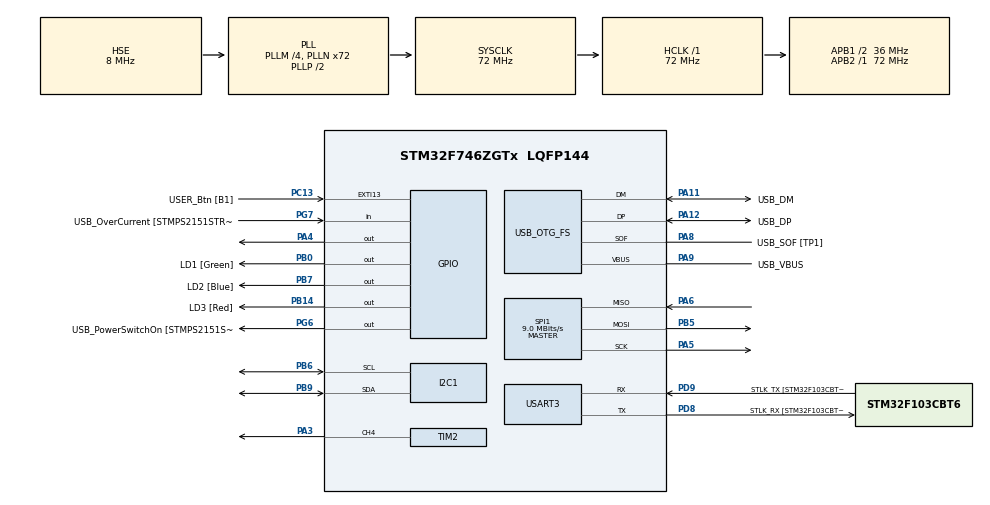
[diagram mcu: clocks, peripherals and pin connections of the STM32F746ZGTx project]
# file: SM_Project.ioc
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I2C1.Timing=0x00808CD2
Mcu.Family=STM32F7
Mcu.Name=STM32F746ZGTx
Mcu.Package=LQFP144
NVIC.PriorityGroup=NVIC_PRIORITYGROUP_4
NVIC.TIM7_IRQn=true\:0\:0\:false\:false\:true\:true\:true\:true
NVIC.USART3_IRQn=true\:0\:0\:false\:false\:true\:true\:true\:true
PA1.GPIO_Label=RMII_REF_CLK [LAN8742A-CZ-TR_REFCLK0]
PA1.Signal=ETH_REF_CLK
PA10.GPIO_Label=USB_ID
PA10.Signal=USB_OTG_FS_ID
PA11.GPIO_Label=USB_DM
PA11.Mode=Device_Only
PA11.Signal=USB_OTG_FS_DM
PA12.GPIO_Label=USB_DP
PA12.Mode=Device_Only
PA12.Signal=USB_OTG_FS_DP
PA13.GPIO_Label=TMS
PA13.Mode=Serial_Wire
PA13.Signal=SYS_JTMS-SWDIO
PA14.GPIO_Label=TCK
PA14.Mode=Serial_Wire
PA14.Signal=SYS_JTCK-SWCLK
PA2.GPIO_Label=RMII_MDIO [LAN8742A-CZ-TR_MDIO]
PA2.Signal=ETH_MDIO
PA3.Signal=S_TIM2_CH4
PA4.Signal=GPIO_Output
PA5.Mode=Full_Duplex_Master
PA5.Signal=SPI1_SCK
PA6.Mode=Full_Duplex_Master
PA6.Signal=SPI1_MISO
PA7.GPIO_Label=RMII_CRS_DV [LAN8742A-CZ-TR_CRS_DV]
PA7.Signal=ETH_CRS_DV
PA8.GPIO_Label=USB_SOF [TP1]
PA8.Mode=Activate_SOF_FS
PA8.Signal=USB_OTG_FS_SOF
PA9.GPIO_Label=USB_VBUS
PA9.Mode=Activate_VBUS
PA9.Signal=USB_OTG_FS_VBUS
PB0.GPIO_Label=LD1 [Green]
PB0.Signal=GPIO_Output
PB13.GPIO_Label=RMII_TXD1 [LAN8742A-CZ-TR_TXD1]
PB13.Signal=ETH_TXD1
PB14.GPIO_Label=LD3 [Red]
PB14.Signal=GPIO_Output
PB3.GPIO_Label=SW0
PB3.Signal=SYS_JTDO-SWO
PB5.Mode=Full_Duplex_Master
PB5.Signal=SPI1_MOSI
PB6.Mode=I2C
PB6.Signal=I2C1_SCL
PB7.GPIO_Label=LD2 [Blue]
PB7.Signal=GPIO_Output
PB9.Mode=I2C
PB9.Signal=I2C1_SDA
PC1.GPIO_Label=RMII_MDC [LAN8742A-CZ-TR_MDC]
PC1.Signal=ETH_MDC
PC13.GPIO_Label=USER_Btn [B1]
PC13.Signal=GPXTI13
PC14/OSC32_IN.Mode=LSE-External-Oscillator
PC14/OSC32_IN.Signal=RCC_OSC32_IN
PC15/OSC32_OUT.Mode=LSE-External-Oscillator
PC15/OSC32_OUT.Signal=RCC_OSC32_OUT
PC4.GPIO_Label=RMII_RXD0 [LAN8742A-CZ-TR_RXD0]
PC4.Signal=ETH_RXD0
PC5.GPIO_Label=RMII_RXD1 [LAN8742A-CZ-TR_RXD1]
PC5.Signal=ETH_RXD1
PD8.GPIO_Label=STLK_RX [STM32F103CBT6_PA3]
PD8.GPIO_PuPd=GPIO_PULLUP
PD8.Mode=Asynchronous
PD8.Signal=USART3_TX
PD9.GPIO_Label=STLK_TX [STM32F103CBT6_PA2]
PD9.GPIO_PuPd=GPIO_PULLUP
PD9.Mode=Asynchronous
PD9.Signal=USART3_RX
PG11.GPIO_Label=RMII_TX_EN [LAN8742A-CZ-TR_TXEN]
PG11.Signal=ETH_TX_EN
PG13.GPIO_Label=RMII_TXD0 [LAN8742A-CZ-TR_TXD0]
PG13.Signal=ETH_TXD0
PG6.GPIO_Label=USB_PowerSwitchOn [STMPS2151STR_EN]
PG6.Signal=GPIO_Output
PG7.GPIO_Label=USB_OverCurrent [STMPS2151STR_FAULT]
PG7.Signal=GPIO_Input
PH0/OSC_IN.GPIO_Label=MCO [STM32F103CBT6_PA8]
PH0/OSC_IN.Mode=HSE-External-Clock-Source
PH0/OSC_IN.Signal=RCC_OSC_IN
PH1/OSC_OUT.Mode=HSE-External-Clock-Source
PH1/OSC_OUT.Signal=RCC_OSC_OUT
ProjectManager.HeapSize=0x200
ProjectManager.StackSize=0x400
ProjectManager.TargetToolchain=STM32CubeIDE
RCC.48MHZClocksFreq_Value=24000000
RCC.AHBFreq_Value=72000000
RCC.APB1CLKDivider=RCC_HCLK_DIV2
RCC.APB1Freq_Value=36000000
RCC.APB1TimFreq_Value=72000000
RCC.APB2Freq_Value=72000000
RCC.APB2TimFreq_Value=72000000
RCC.CortexFreq_Value=72000000
RCC.HCLKFreq_Value=72000000
RCC.HSE_VALUE=8000000
RCC.HSI_VALUE=16000000
RCC.PLLM=4
RCC.PLLMUL=RCC_PLL_MUL9
RCC.PLLN=72
RCC.PLLQ=3
RCC.PRESCALERUSB=RCC_USBCLKSOURCE_PLL_DIV1_5
RCC.SYSCLKFreq_VALUE=72000000
RCC.SYSCLKSource=RCC_SYSCLKSOURCE_PLLCLK
RCC.SYSCLKSourceVirtual=RCC_SYSCLKSOURCE_PLLCLK
RCC.USBFreq_Value=48000000
RCC.VCOOutputFreq_Value=144000000
SH.S_TIM2_CH4.0=TIM2_CH4,PWM Generation4 CH4
SPI1.BaudRatePrescaler=SPI_BAUDRATEPRESCALER_8
SPI1.CalculateBaudRate=9.0 MBits/s
SPI1.DataSize=SPI_DATASIZE_8BIT
SPI1.Direction=SPI_DIRECTION_2LINES
SPI1.Mode=SPI_MODE_MASTER
SPI1.VirtualType=VM_MASTER
TIM2.AutoReloadPreload=TIM_AUTORELOAD_PRELOAD_ENABLE
TIM2.Channel-PWM\ Generation4\ CH4=TIM_CHANNEL_4
TIM2.Period=999
TIM2.Prescaler=71
TIM7.Period=19999
TIM7.Prescaler=3599
USART3.DMADisableonRxErrorParam=ADVFEATURE_DMA_DISABLEONRXERROR
USART3.OverrunDisableParam=ADVFEATURE_OVERRUN_DISABLE
USART3.VirtualMode-Asynchronous=VM_ASYNC
USB_OTG_FS.VirtualMode=Device_Only
VP_TIM2_VS_ClockSourceINT.Mode=Internal
VP_TIM7_VS_ClockSourceINT.Mode=Enable_Timer
board=NUCLEO-F746ZG

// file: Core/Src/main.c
/* USER CODE BEGIN Header */
/**
  ******************************************************************************
  * @file           : main.c
  * @brief          : Main program body
  ******************************************************************************
  * @attention
  *
  * Copyright (c) 2024 STMicroelectronics.
  * All rights reserved.
  *
  * This software is licensed under terms that can be found in the LICENSE file
  * in the root directory of this software component.
  * If no LICENSE file comes with this software, it is provided AS-IS.
  *
  ******************************************************************************
  */
/* USER CODE END Header */
#include "main.h"

/* USER CODE BEGIN Includes */
#include "BMPXX80.h"
#include "i2c-lcd.h"
#include <stdio.h>
#include <string.h>
/* USER CODE END Includes */

/* USER CODE BEGIN PTD */
typedef float float32_t;

typedef struct{
	float32_t Kp;
	float32_t Ki;
	float32_t Kd;
	float32_t dt;
}pid_parameters_t;

typedef struct{
	pid_parameters_t p;
	float32_t prev_error, prev_int;
}pid_t;
/* USER CODE END PTD */

/* USER CODE BEGIN PM */
//#define COUNTOF(__BUFFER__) (sizeof(__BUFFER__) / sizeof(*(__BUFFER__)))
/* USER CODE END PM */

I2C_HandleTypeDef hi2c1;

SPI_HandleTypeDef hspi1;

TIM_HandleTypeDef htim2;
TIM_HandleTypeDef htim7;

UART_HandleTypeDef huart3;

PCD_HandleTypeDef hpcd_USB_OTG_FS;

/* USER CODE BEGIN PV */
float temperature;
float set_point = 30.0;
float duty;
char lcd_temp[16];
char lcd_set_point[16];
uint8_t Received;
uint8_t uart_temp[64];
/* USER CODE END PV */

void SystemClock_Config(void);
static void MX_GPIO_Init(void);
static void MX_USART3_UART_Init(void);
static void MX_USB_OTG_FS_PCD_Init(void);
static void MX_I2C1_Init(void);
static void MX_SPI1_Init(void);
static void MX_TIM2_Init(void);
static void MX_TIM7_Init(void);

/* USER CODE BEGIN 0 */
float32_t calculate_discrete_pid(pid_t* pid, float32_t setpoint, float32_t measured){
	float32_t u=0, P, I, D, error, integral, derivative;

	error = setpoint - measured;

	P = pid->p.Kp * error;

	integral = pid->prev_int + (error+pid->prev_error);
	pid->prev_int = integral;
	I = pid->p.Ki * integral * (pid->p.dt/2.0);

	derivative = (error - pid->prev_error)/pid->p.dt;
	pid->prev_error = error;
	D = pid->p.Kd * derivative;

	u = P + I + D;

	return u;
}

pid_t pid = {.p.Kp = 0.5, .p.Ki = 0.001, .p.Kd = 0.0, .p.dt=1 , .prev_error = 0, .prev_int = 0};

int is_int(char *str) {
    int i = 0, len = strlen(str);
    if (str[i] == '+' || str[i] == '-') i++;
    if (i == len) return 0;
    while (i < len) {
        if (isdigit(str[i])) {
            i++;
        } else {
            return 0;
        }
    }
    return 1;
}

/* USER CODE END 0 */

int main(void)
{

  /* MCU Configuration--------------------------------------------------------*/

  /* Reset of all peripherals, Initializes the Flash interface and the Systick. */
  HAL_Init();

  /* Configure the system clock */
  SystemClock_Config();

  /* Initialize all configured peripherals */
  MX_GPIO_Init();
  MX_USART3_UART_Init();
  MX_USB_OTG_FS_PCD_Init();
  MX_I2C1_Init();
  MX_SPI1_Init();
  MX_TIM2_Init();
  MX_TIM7_Init();
  /* USER CODE BEGIN 2 */
  BMP280_Init(&hspi1, BMP280_TEMPERATURE_16BIT, BMP280_STANDARD, BMP280_FORCEDMODE);
  lcd_init();
  lcd_clear();
  HAL_TIM_PWM_Start(&htim2, TIM_CHANNEL_4);
  HAL_TIM_Base_Start_IT(&htim7);
  HAL_UART_Receive_IT(&huart3, &Received, 2);
  /* USER CODE END 2 */

  /* Infinite loop */
  while (1)
  {

  }
}

void SystemClock_Config(void)
{
  RCC_OscInitTypeDef RCC_OscInitStruct = {0};
  RCC_ClkInitTypeDef RCC_ClkInitStruct = {0};

  /** Configure LSE Drive Capability
  */
  HAL_PWR_EnableBkUpAccess();

  /** Configure the main internal regulator output voltage
  */
  __HAL_RCC_PWR_CLK_ENABLE();
  __HAL_PWR_VOLTAGESCALING_CONFIG(PWR_REGULATOR_VOLTAGE_SCALE3);

  /** Initializes the RCC Oscillators according to the specified parameters
  * in the RCC_OscInitTypeDef structure.
  */
  RCC_OscInitStruct.OscillatorType = RCC_OSCILLATORTYPE_HSE;
  RCC_OscInitStruct.HSEState = RCC_HSE_BYPASS;
  RCC_OscInitStruct.PLL.PLLState = RCC_PLL_ON;
  RCC_OscInitStruct.PLL.PLLSource = RCC_PLLSOURCE_HSE;
  RCC_OscInitStruct.PLL.PLLM = 4;
  RCC_OscInitStruct.PLL.PLLN = 72;
  RCC_OscInitStruct.PLL.PLLP = RCC_PLLP_DIV2;
  RCC_OscInitStruct.PLL.PLLQ = 3;
  if (HAL_RCC_OscConfig(&RCC_OscInitStruct) != HAL_OK)
  {
    Error_Handler();
  }

  /** Initializes the CPU, AHB and APB buses clocks
  */
  RCC_ClkInitStruct.ClockType = RCC_CLOCKTYPE_HCLK|RCC_CLOCKTYPE_SYSCLK
                              |RCC_CLOCKTYPE_PCLK1|RCC_CLOCKTYPE_PCLK2;
  RCC_ClkInitStruct.SYSCLKSource = RCC_SYSCLKSOURCE_PLLCLK;
  RCC_ClkInitStruct.AHBCLKDivider = RCC_SYSCLK_DIV1;
  RCC_ClkInitStruct.APB1CLKDivider = RCC_HCLK_DIV2;
  RCC_ClkInitStruct.APB2CLKDivider = RCC_HCLK_DIV1;

  if (HAL_RCC_ClockConfig(&RCC_ClkInitStruct, FLASH_LATENCY_2) != HAL_OK)
  {
    Error_Handler();
  }
}

static void MX_I2C1_Init(void)
{

  hi2c1.Instance = I2C1;
  hi2c1.Init.Timing = 0x00808CD2;
  hi2c1.Init.OwnAddress1 = 0;
  hi2c1.Init.AddressingMode = I2C_ADDRESSINGMODE_7BIT;
  hi2c1.Init.DualAddressMode = I2C_DUALADDRESS_DISABLE;
  hi2c1.Init.OwnAddress2 = 0;
  hi2c1.Init.OwnAddress2Masks = I2C_OA2_NOMASK;
  hi2c1.Init.GeneralCallMode = I2C_GENERALCALL_DISABLE;
  hi2c1.Init.NoStretchMode = I2C_NOSTRETCH_DISABLE;
  if (HAL_I2C_Init(&hi2c1) != HAL_OK)
  {
    Error_Handler();
  }

  /** Configure Analogue filter
  */
  if (HAL_I2CEx_ConfigAnalogFilter(&hi2c1, I2C_ANALOGFILTER_ENABLE) != HAL_OK)
  {
    Error_Handler();
  }

  /** Configure Digital filter
  */
  if (HAL_I2CEx_ConfigDigitalFilter(&hi2c1, 0) != HAL_OK)
  {
    Error_Handler();
  }

}

static void MX_SPI1_Init(void)
{

  /* SPI1 parameter configuration*/
  hspi1.Instance = SPI1;
  hspi1.Init.Mode = SPI_MODE_MASTER;
  hspi1.Init.Direction = SPI_DIRECTION_2LINES;
  hspi1.Init.DataSize = SPI_DATASIZE_8BIT;
  hspi1.Init.CLKPolarity = SPI_POLARITY_LOW;
  hspi1.Init.CLKPhase = SPI_PHASE_1EDGE;
  hspi1.Init.NSS = SPI_NSS_SOFT;
  hspi1.Init.BaudRatePrescaler = SPI_BAUDRATEPRESCALER_8;
  hspi1.Init.FirstBit = SPI_FIRSTBIT_MSB;
  hspi1.Init.TIMode = SPI_TIMODE_DISABLE;
  hspi1.Init.CRCCalculation = SPI_CRCCALCULATION_DISABLE;
  hspi1.Init.CRCPolynomial = 7;
  hspi1.Init.CRCLength = SPI_CRC_LENGTH_DATASIZE;
  hspi1.Init.NSSPMode = SPI_NSS_PULSE_ENABLE;
  if (HAL_SPI_Init(&hspi1) != HAL_OK)
  {
    Error_Handler();
  }

}

static void MX_TIM2_Init(void)
{

  TIM_ClockConfigTypeDef sClockSourceConfig = {0};
  TIM_MasterConfigTypeDef sMasterConfig = {0};
  TIM_OC_InitTypeDef sConfigOC = {0};

  htim2.Instance = TIM2;
  htim2.Init.Prescaler = 71;
  htim2.Init.CounterMode = TIM_COUNTERMODE_UP;
  htim2.Init.Period = 999;
  htim2.Init.ClockDivision = TIM_CLOCKDIVISION_DIV1;
  htim2.Init.AutoReloadPreload = TIM_AUTORELOAD_PRELOAD_ENABLE;
  if (HAL_TIM_Base_Init(&htim2) != HAL_OK)
  {
    Error_Handler();
  }
  sClockSourceConfig.ClockSource = TIM_CLOCKSOURCE_INTERNAL;
  if (HAL_TIM_ConfigClockSource(&htim2, &sClockSourceConfig) != HAL_OK)
  {
    Error_Handler();
  }
  if (HAL_TIM_PWM_Init(&htim2) != HAL_OK)
  {
    Error_Handler();
  }
  sMasterConfig.MasterOutputTrigger = TIM_TRGO_RESET;
  sMasterConfig.MasterSlaveMode = TIM_MASTERSLAVEMODE_DISABLE;
  if (HAL_TIMEx_MasterConfigSynchronization(&htim2, &sMasterConfig) != HAL_OK)
  {
    Error_Handler();
  }
  sConfigOC.OCMode = TIM_OCMODE_PWM1;
  sConfigOC.Pulse = 0;
  sConfigOC.OCPolarity = TIM_OCPOLARITY_HIGH;
  sConfigOC.OCFastMode = TIM_OCFAST_DISABLE;
  if (HAL_TIM_PWM_ConfigChannel(&htim2, &sConfigOC, TIM_CHANNEL_4) != HAL_OK)
  {
    Error_Handler();
  }
  HAL_TIM_MspPostInit(&htim2);

}

static void MX_TIM7_Init(void)
{

  TIM_MasterConfigTypeDef sMasterConfig = {0};

  htim7.Instance = TIM7;
  htim7.Init.Prescaler = 3599;
  htim7.Init.CounterMode = TIM_COUNTERMODE_UP;
  htim7.Init.Period = 19999;
  htim7.Init.AutoReloadPreload = TIM_AUTORELOAD_PRELOAD_DISABLE;
  if (HAL_TIM_Base_Init(&htim7) != HAL_OK)
  {
    Error_Handler();
  }
  sMasterConfig.MasterOutputTrigger = TIM_TRGO_RESET;
  sMasterConfig.MasterSlaveMode = TIM_MASTERSLAVEMODE_DISABLE;
  if (HAL_TIMEx_MasterConfigSynchronization(&htim7, &sMasterConfig) != HAL_OK)
  {
    Error_Handler();
  }

}

static void MX_USART3_UART_Init(void)
{

  huart3.Instance = USART3;
  huart3.Init.BaudRate = 115200;
  huart3.Init.WordLength = UART_WORDLENGTH_8B;
  huart3.Init.StopBits = UART_STOPBITS_1;
  huart3.Init.Parity = UART_PARITY_NONE;
  huart3.Init.Mode = UART_MODE_TX_RX;
  huart3.Init.HwFlowCtl = UART_HWCONTROL_NONE;
  huart3.Init.OverSampling = UART_OVERSAMPLING_16;
  huart3.Init.OneBitSampling = UART_ONE_BIT_SAMPLE_DISABLE;
  huart3.AdvancedInit.AdvFeatureInit = UART_ADVFEATURE_RXOVERRUNDISABLE_INIT|UART_ADVFEATURE_DMADISABLEONERROR_INIT;
  huart3.AdvancedInit.OverrunDisable = UART_ADVFEATURE_OVERRUN_DISABLE;
  huart3.AdvancedInit.DMADisableonRxError = UART_ADVFEATURE_DMA_DISABLEONRXERROR;
  if (HAL_UART_Init(&huart3) != HAL_OK)
  {
    Error_Handler();
  }

}

static void MX_USB_OTG_FS_PCD_Init(void)
{

  hpcd_USB_OTG_FS.Instance = USB_OTG_FS;
  hpcd_USB_OTG_FS.Init.dev_endpoints = 6;
  hpcd_USB_OTG_FS.Init.speed = PCD_SPEED_FULL;
  hpcd_USB_OTG_FS.Init.dma_enable = DISABLE;
  hpcd_USB_OTG_FS.Init.phy_itface = PCD_PHY_EMBEDDED;
  hpcd_USB_OTG_FS.Init.Sof_enable = ENABLE;
  hpcd_USB_OTG_FS.Init.low_power_enable = DISABLE;
  hpcd_USB_OTG_FS.Init.lpm_enable = DISABLE;
  hpcd_USB_OTG_FS.Init.vbus_sensing_enable = ENABLE;
  hpcd_USB_OTG_FS.Init.use_dedicated_ep1 = DISABLE;
  if (HAL_PCD_Init(&hpcd_USB_OTG_FS) != HAL_OK)
  {
    Error_Handler();
  }

}

static void MX_GPIO_Init(void)
{
  GPIO_InitTypeDef GPIO_InitStruct = {0};

  /* GPIO Ports Clock Enable */
  __HAL_RCC_GPIOC_CLK_ENABLE();
  __HAL_RCC_GPIOH_CLK_ENABLE();
  __HAL_RCC_GPIOA_CLK_ENABLE();
  __HAL_RCC_GPIOB_CLK_ENABLE();
  __HAL_RCC_GPIOD_CLK_ENABLE();
  __HAL_RCC_GPIOG_CLK_ENABLE();

  /*Configure GPIO pin Output Level */
  HAL_GPIO_WritePin(GPIOA, GPIO_PIN_4, GPIO_PIN_RESET);

  /*Configure GPIO pin Output Level */
  HAL_GPIO_WritePin(GPIOB, LD1_Pin|LD3_Pin|LD2_Pin, GPIO_PIN_RESET);

  /*Configure GPIO pin Output Level */
  HAL_GPIO_WritePin(USB_PowerSwitchOn_GPIO_Port, USB_PowerSwitchOn_Pin, GPIO_PIN_RESET);

  /*Configure GPIO pin : USER_Btn_Pin */
  GPIO_InitStruct.Pin = USER_Btn_Pin;
  GPIO_InitStruct.Mode = GPIO_MODE_IT_RISING;
  GPIO_InitStruct.Pull = GPIO_NOPULL;
  HAL_GPIO_Init(USER_Btn_GPIO_Port, &GPIO_InitStruct);

  /*Configure GPIO pins : RMII_MDC_Pin RMII_RXD0_Pin RMII_RXD1_Pin */
  GPIO_InitStruct.Pin = RMII_MDC_Pin|RMII_RXD0_Pin|RMII_RXD1_Pin;
  GPIO_InitStruct.Mode = GPIO_MODE_AF_PP;
  GPIO_InitStruct.Pull = GPIO_NOPULL;
  GPIO_InitStruct.Speed = GPIO_SPEED_FREQ_VERY_HIGH;
  GPIO_InitStruct.Alternate = GPIO_AF11_ETH;
  HAL_GPIO_Init(GPIOC, &GPIO_InitStruct);

  /*Configure GPIO pins : RMII_REF_CLK_Pin RMII_MDIO_Pin RMII_CRS_DV_Pin */
  GPIO_InitStruct.Pin = RMII_REF_CLK_Pin|RMII_MDIO_Pin|RMII_CRS_DV_Pin;
  GPIO_InitStruct.Mode = GPIO_MODE_AF_PP;
  GPIO_InitStruct.Pull = GPIO_NOPULL;
  GPIO_InitStruct.Speed = GPIO_SPEED_FREQ_VERY_HIGH;
  GPIO_InitStruct.Alternate = GPIO_AF11_ETH;
  HAL_GPIO_Init(GPIOA, &GPIO_InitStruct);

  /*Configure GPIO pin : PA4 */
  GPIO_InitStruct.Pin = GPIO_PIN_4;
  GPIO_InitStruct.Mode = GPIO_MODE_OUTPUT_PP;
  GPIO_InitStruct.Pull = GPIO_NOPULL;
  GPIO_InitStruct.Speed = GPIO_SPEED_FREQ_LOW;
  HAL_GPIO_Init(GPIOA, &GPIO_InitStruct);

  /*Configure GPIO pins : LD1_Pin LD3_Pin LD2_Pin */
  GPIO_InitStruct.Pin = LD1_Pin|LD3_Pin|LD2_Pin;
  GPIO_InitStruct.Mode = GPIO_MODE_OUTPUT_PP;
  GPIO_InitStruct.Pull = GPIO_NOPULL;
  GPIO_InitStruct.Speed = GPIO_SPEED_FREQ_LOW;
  HAL_GPIO_Init(GPIOB, &GPIO_InitStruct);

  /*Configure GPIO pin : RMII_TXD1_Pin */
  GPIO_InitStruct.Pin = RMII_TXD1_Pin;
  GPIO_InitStruct.Mode = GPIO_MODE_AF_PP;
  GPIO_InitStruct.Pull = GPIO_NOPULL;
  GPIO_InitStruct.Speed = GPIO_SPEED_FREQ_VERY_HIGH;
  GPIO_InitStruct.Alternate = GPIO_AF11_ETH;
  HAL_GPIO_Init(RMII_TXD1_GPIO_Port, &GPIO_InitStruct);

  /*Configure GPIO pin : USB_PowerSwitchOn_Pin */
  GPIO_InitStruct.Pin = USB_PowerSwitchOn_Pin;
  GPIO_InitStruct.Mode = GPIO_MODE_OUTPUT_PP;
  GPIO_InitStruct.Pull = GPIO_NOPULL;
  GPIO_InitStruct.Speed = GPIO_SPEED_FREQ_LOW;
  HAL_GPIO_Init(USB_PowerSwitchOn_GPIO_Port, &GPIO_InitStruct);

  /*Configure GPIO pin : USB_OverCurrent_Pin */
  GPIO_InitStruct.Pin = USB_OverCurrent_Pin;
  GPIO_InitStruct.Mode = GPIO_MODE_INPUT;
  GPIO_InitStruct.Pull = GPIO_NOPULL;
  HAL_GPIO_Init(USB_OverCurrent_GPIO_Port, &GPIO_InitStruct);

  /*Configure GPIO pins : RMII_TX_EN_Pin RMII_TXD0_Pin */
  GPIO_InitStruct.Pin = RMII_TX_EN_Pin|RMII_TXD0_Pin;
  GPIO_InitStruct.Mode = GPIO_MODE_AF_PP;
  GPIO_InitStruct.Pull = GPIO_NOPULL;
  GPIO_InitStruct.Speed = GPIO_SPEED_FREQ_VERY_HIGH;
  GPIO_InitStruct.Alternate = GPIO_AF11_ETH;
  HAL_GPIO_Init(GPIOG, &GPIO_InitStruct);

}

/* USER CODE BEGIN 4 */
void HAL_UART_RxCpltCallback(UART_HandleTypeDef *huart)
{
	if(is_int(&Received))
	{
		set_point = atoi(&Received)/10.0;
		HAL_GPIO_WritePin(LD3_GPIO_Port, LD3_Pin, GPIO_PIN_RESET);
	}
	else
		HAL_GPIO_WritePin(LD3_GPIO_Port, LD3_Pin, GPIO_PIN_SET);
	HAL_UART_Receive_IT(&huart3, &Received, 2);
}

void HAL_TIM_PeriodElapsedCallback(TIM_HandleTypeDef *htim)
{
	HAL_GPIO_TogglePin(LD1_GPIO_Port, LD1_Pin);
	temperature = BMP280_ReadTemperature();

	float pwm_duty_f = (999.0*calculate_discrete_pid(&pid, set_point, temperature));
	uint16_t pwm_duty = 0;
	if(pwm_duty_f<0)
		pwm_duty = 0;
	else if(pwm_duty_f>999.0)
		pwm_duty = 999;
	else
		pwm_duty = (uint16_t)pwm_duty_f;
	duty = pwm_duty;
	__HAL_TIM_SET_COMPARE(&htim2, TIM_CHANNEL_4, pwm_duty);
	sprintf(lcd_temp, "C. temp.: %f", temperature);
	sprintf(lcd_set_point, "S. point: %f", set_point);
	lcd_put_cur(0, 0);
	lcd_send_string(lcd_temp);
	lcd_put_cur(1, 0);
	lcd_send_string(lcd_set_point);
	sprintf((char*)uart_temp, "\n%f", temperature);
	HAL_UART_Transmit(&huart3, uart_temp, strlen((char*)uart_temp), 50);
}
/* USER CODE END 4 */

void Error_Handler(void)
{
  __disable_irq();
  while (1)
  {
  }
}
